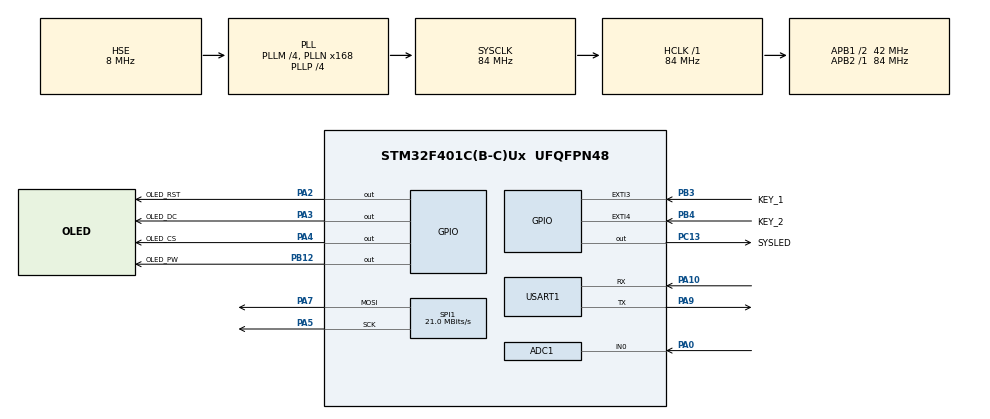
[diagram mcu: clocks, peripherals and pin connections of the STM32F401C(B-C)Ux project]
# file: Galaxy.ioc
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ADC1.Channel-0\#ChannelRegularConversion=ADC_CHANNEL_0
ADC1.ExternalTrigConv=ADC_EXTERNALTRIGCONV_T3_TRGO
ADC1.NbrOfConversionFlag=1
ADC1.Rank-0\#ChannelRegularConversion=1
ADC1.SamplingTime-0\#ChannelRegularConversion=ADC_SAMPLETIME_3CYCLES
ADC1.master=1
Dma.ADC1.1.Direction=DMA_PERIPH_TO_MEMORY
Dma.ADC1.1.FIFOMode=DMA_FIFOMODE_DISABLE
Dma.ADC1.1.Instance=DMA2_Stream0
Dma.ADC1.1.MemDataAlignment=DMA_MDATAALIGN_WORD
Dma.ADC1.1.MemInc=DMA_MINC_ENABLE
Dma.ADC1.1.Mode=DMA_CIRCULAR
Dma.ADC1.1.PeriphDataAlignment=DMA_PDATAALIGN_WORD
Dma.ADC1.1.PeriphInc=DMA_PINC_DISABLE
Dma.ADC1.1.Priority=DMA_PRIORITY_LOW
Dma.Request0=SPI1_TX
Dma.Request1=ADC1
Dma.SPI1_TX.0.Direction=DMA_MEMORY_TO_PERIPH
Dma.SPI1_TX.0.FIFOMode=DMA_FIFOMODE_DISABLE
Dma.SPI1_TX.0.Instance=DMA2_Stream3
Dma.SPI1_TX.0.MemDataAlignment=DMA_MDATAALIGN_BYTE
Dma.SPI1_TX.0.MemInc=DMA_MINC_ENABLE
Dma.SPI1_TX.0.Mode=DMA_NORMAL
Dma.SPI1_TX.0.PeriphDataAlignment=DMA_PDATAALIGN_BYTE
Dma.SPI1_TX.0.PeriphInc=DMA_PINC_DISABLE
Dma.SPI1_TX.0.Priority=DMA_PRIORITY_LOW
Mcu.Family=STM32F4
Mcu.Name=STM32F401C(B-C)Ux
Mcu.Package=UFQFPN48
NVIC.DMA2_Stream0_IRQn=true\:0\:0\:false\:false\:true\:false\:true
NVIC.DMA2_Stream3_IRQn=true\:0\:0\:false\:false\:true\:false\:true
NVIC.EXTI3_IRQn=true\:0\:0\:false\:false\:true\:true\:true
NVIC.EXTI4_IRQn=true\:0\:0\:false\:false\:true\:true\:true
NVIC.FPU_IRQn=true\:0\:0\:false\:false\:true\:true\:false
NVIC.PriorityGroup=NVIC_PRIORITYGROUP_4
NVIC.TIM1_BRK_TIM9_IRQn=true\:0\:0\:false\:false\:true\:true\:true
NVIC.TIM4_IRQn=true\:0\:0\:false\:false\:true\:true\:true
NVIC.TIM5_IRQn=true\:0\:0\:false\:false\:true\:true\:true
NVIC.USART1_IRQn=true\:0\:0\:false\:false\:true\:true\:true
PA0-WKUP.Signal=ADCx_IN0
PA10.Mode=Asynchronous
PA10.Signal=USART1_RX
PA13.Mode=Serial_Wire
PA13.Signal=SYS_JTMS-SWDIO
PA14.Mode=Serial_Wire
PA14.Signal=SYS_JTCK-SWCLK
PA2.GPIO_Label=OLED_RST
PA2.GPIO_ModeDefaultOutputPP=GPIO_MODE_OUTPUT_PP
PA2.GPIO_PuPd=GPIO_PULLUP
PA2.GPIO_Speed=GPIO_SPEED_FREQ_VERY_HIGH
PA2.PinState=GPIO_PIN_SET
PA2.Signal=GPIO_Output
PA3.GPIO_Label=OLED_DC
PA3.GPIO_ModeDefaultOutputPP=GPIO_MODE_OUTPUT_PP
PA3.GPIO_PuPd=GPIO_PULLUP
PA3.GPIO_Speed=GPIO_SPEED_FREQ_VERY_HIGH
PA3.PinState=GPIO_PIN_SET
PA3.Signal=GPIO_Output
PA4.GPIO_Label=OLED_CS
PA4.GPIO_ModeDefaultOutputPP=GPIO_MODE_OUTPUT_PP
PA4.GPIO_PuPd=GPIO_PULLUP
PA4.GPIO_Speed=GPIO_SPEED_FREQ_VERY_HIGH
PA4.PinState=GPIO_PIN_SET
PA4.Signal=GPIO_Output
PA5.Mode=TX_Only_Simplex_Unidirect_Master
PA5.Signal=SPI1_SCK
PA7.Mode=TX_Only_Simplex_Unidirect_Master
PA7.Signal=SPI1_MOSI
PA9.Mode=Asynchronous
PA9.Signal=USART1_TX
PB12.GPIO_Label=OLED_PW
PB12.GPIO_ModeDefaultOutputPP=GPIO_MODE_OUTPUT_PP
PB12.GPIO_PuPd=GPIO_PULLUP
PB12.GPIO_Speed=GPIO_SPEED_FREQ_LOW
PB12.PinState=GPIO_PIN_SET
PB12.Signal=GPIO_Output
PB3.GPIO_Label=KEY_1
PB3.GPIO_ModeDefaultEXTI=GPIO_MODE_IT_FALLING
PB3.GPIO_PuPd=GPIO_PULLUP
PB3.Signal=GPXTI3
PB4.GPIO_Label=KEY_2
PB4.GPIO_ModeDefaultEXTI=GPIO_MODE_IT_FALLING
PB4.GPIO_PuPd=GPIO_PULLUP
PB4.Signal=GPXTI4
PC13-ANTI_TAMP.GPIO_Label=SYSLED
PC13-ANTI_TAMP.GPIO_ModeDefaultOutputPP=GPIO_MODE_OUTPUT_PP
PC13-ANTI_TAMP.GPIO_PuPd=GPIO_PULLUP
PC13-ANTI_TAMP.GPIO_Speed=GPIO_SPEED_FREQ_LOW
PC13-ANTI_TAMP.PinState=GPIO_PIN_SET
PC13-ANTI_TAMP.Signal=GPIO_Output
PH0\ -\ OSC_IN.Mode=HSE-External-Oscillator
PH0\ -\ OSC_IN.Signal=RCC_OSC_IN
PH1\ -\ OSC_OUT.Mode=HSE-External-Oscillator
PH1\ -\ OSC_OUT.Signal=RCC_OSC_OUT
ProjectManager.HeapSize=0x200
ProjectManager.StackSize=0x400
ProjectManager.TargetToolchain=MDK-ARM V5.27
RCC.48MHZClocksFreq_Value=84000000
RCC.AHBFreq_Value=84000000
RCC.APB1CLKDivider=RCC_HCLK_DIV2
RCC.APB1Freq_Value=42000000
RCC.APB1TimFreq_Value=84000000
RCC.APB2Freq_Value=84000000
RCC.APB2TimFreq_Value=84000000
RCC.CortexFreq_Value=84000000
RCC.HCLKFreq_Value=84000000
RCC.HSE_VALUE=8000000
RCC.HSI_VALUE=16000000
RCC.LSE_VALUE=32768
RCC.PLLM=4
RCC.PLLN=168
RCC.PLLP=RCC_PLLP_DIV4
RCC.PLLSourceVirtual=RCC_PLLSOURCE_HSE
RCC.RCC_RTC_Clock_Source=RCC_RTCCLKSOURCE_LSE
RCC.RCC_RTC_Clock_SourceVirtual=RCC_RTCCLKSOURCE_LSE
RCC.SYSCLKFreq_VALUE=84000000
RCC.SYSCLKSource=RCC_SYSCLKSOURCE_PLLCLK
RCC.VCOOutputFreq_Value=336000000
SH.ADCx_IN0.0=ADC1_IN0,IN0
SPI1.BaudRatePrescaler=SPI_BAUDRATEPRESCALER_4
SPI1.CalculateBaudRate=21.0 MBits/s
SPI1.Direction=SPI_DIRECTION_2LINES
SPI1.Mode=SPI_MODE_MASTER
SPI1.VirtualType=VM_MASTER
TIM3.Period=99
TIM3.Prescaler=83
TIM3.TIM_MasterOutputTrigger=TIM_TRGO_UPDATE
TIM4.AutoReloadPreload=TIM_AUTORELOAD_PRELOAD_ENABLE
TIM4.Period=99
TIM4.Prescaler=8399
TIM5.Period=199
TIM5.Prescaler=8399
TIM9.AutoReloadPreload=TIM_AUTORELOAD_PRELOAD_ENABLE
TIM9.Period=9999
TIM9.Prescaler=8399
USART1.VirtualMode=VM_ASYNC
VP_TIM3_VS_ClockSourceINT.Mode=Internal
VP_TIM4_VS_ClockSourceINT.Mode=Internal
VP_TIM5_VS_ClockSourceINT.Mode=Internal
VP_TIM9_VS_ClockSourceINT.Mode=Internal
board=custom

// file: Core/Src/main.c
/* USER CODE BEGIN Header */
/**
  ******************************************************************************
  * @file           : main.c
  * @brief          : Main program body
  ******************************************************************************
  * @attention
  *
  * <h2><center>&copy; Copyright (c) 2020 STMicroelectronics.
  * All rights reserved.</center></h2>
  *
  * This software component is licensed by ST under BSD 3-Clause license,
  * the "License"; You may not use this file except in compliance with the
  * License. You may obtain a copy of the License at:
  *                        opensource.org/licenses/BSD-3-Clause
  *
  ******************************************************************************
  */
/* USER CODE END Header */
#include "main.h"
#include "adc.h"
#include "dma.h"
#include "spi.h"
#include "tim.h"
#include "usart.h"
#include "gpio.h"

/* USER CODE BEGIN Includes */
#include "OLED_Animation.h"
#include "OLED_Driver.h"
#include "OLED_GFX.h"
#include "OLED_FFT.h"
#include "string.h"
#include "math.h"
#include "stdio.h"
#include "stm32_dsp.h"
#include "stmflash.h"
#include "table_fft.h"
/* USER CODE END Includes */

/* USER CODE BEGIN PTD */

#define FLASH_SAVE_ADDR  0x0803D000 	//设置FLASH 保存地址(必须为4的倍数，且所在扇区,要大于本代码所占用到的扇区.

/* USER CODE END PTD */

/* USER CODE BEGIN PM */
uint8_t Flag_Refrash = False;
uint8_t Flag_Blink = False;
uint8_t Flag_Sleep = False;
uint8_t Flag_Continue = False;
uint8_t Flag_Reception = True;
uint8_t OfflineCount = 6;
uint8_t SystemActive = False;
u8 datatemp[256] = {};
u16 RandomX=30,RandomY=30;

#define Radius 60
#define RadiusC 56
#define RadiusB 53
#define HourRadius 30
#define MinRadius 40
#define SecRadius 50
u16 ColorPointer[3];

uint8_t adc_dma_ok = 0;					//adc的DMA传输完成标志
uint32_t adc_buf[NPT]={0};			//用于存储ADC转换结果的数组

static long lBufInArray[NPT];					//传入给FFT的数组
//long lBufOutArray[NPT/2];				//FFT输出 因为输出结果是对称的 所以我们只取了前面的一半
//long lBufMagArray[NPT/2];				//每个频率对用的幅值
static long lBufOutArray[NPT];				//FFT输出
long lBufMagArray[NPT];				//每个频率对用的幅值

void FFT_Start(void)
{
	/*启动ADC的DMA传输，配合定时器触发ADC转换*/
	HAL_ADC_Start_DMA(&hadc1, adc_buf, NPT);
	/*开启定时器，用溢出时间来触发ADC*/
	HAL_TIM_Base_Start(&htim3);
}

void FFT_Stop(void)
{
	/*停止ADC的DMA传输*/
	HAL_ADC_Stop_DMA(&hadc1);
	/*停止定时器*/
	HAL_TIM_Base_Stop(&htim3);
}

void GetPowerMag(void)
{
    signed short lX,lY;
    float X,Y,Mag;
    unsigned short i;

    for(i=0; i<NPT; i++)
    {
        lX  = (lBufOutArray[i] << 16) >> 16;
        lY  = (lBufOutArray[i] >> 16);

				//除以32768再乘65536是为了符合浮点数计算规律
        X = NPT * ((float)lX) / 32768;
        Y = NPT * ((float)lY) / 32768;
        Mag = sqrt(X * X + Y * Y)*1.0f/ NPT;
        if(i == 0)
            lBufMagArray[i] = (unsigned long)(Mag * 32768);
        else
            lBufMagArray[i] = (unsigned long)(Mag * 65536);
    }
}

/* 函数名称：void FFT_Pro(void)
 * 功能描述：FFT处理函数
 * 参数：无
 * 返回值：无
 */
void FFT_Pro(void)
{
	uint16_t i = 0;
	//填充数组
	for(i=0;i<NPT;i++)
	{
		//这里因为单片机的ADC只能测正的电压 所以需要前级加直流偏执
		//加入直流偏执后 1.25V 对应AD值为3103
		lBufInArray[i] = ((signed short)(adc_buf[i])-1551) << 18;
	}
	//256点FFT变换
	cr4_fft_256_stm32(lBufOutArray, lBufInArray, NPT);
	//计算出对应频率的模 即每个频率对应的幅值
	GetPowerMag();
}

/* USER CODE END PM */

/* USER CODE BEGIN PV */
int Count=0;

u8 Dataleng;
char DataDis[20];
char DataDisf[3];

u8 showfpsflag = 0;
//void CopyString(char *ch1,char *ch2)
//{
//	int i;
//	for(i=0;i<cont_str(ch2);i++)
//		ch1[i]=ch2[i];
//}
/* USER CODE END PV */

void SystemClock_Config(void);

/* USER CODE BEGIN 0 */

OLED_GFX oled = OLED_GFX();
OLED_FFT fft = OLED_FFT();
OLED_Animation motion = OLED_Animation();

typedef struct
{
	uint8_t theme;
	uint8_t animotion;
} SAVE;

SAVE save={1,1};

void savedata(void)
{
	u32 msg[2];
	msg[0] = save.theme;
	msg[1] = save.animotion;

	STMFLASH_Write(FLASH_SAVE_ADDR,(u32*)msg,2);
}
void getdata(void)
{
	u32 msg[2];
	STMFLASH_Read(FLASH_SAVE_ADDR,(u32*)msg,2);
	save.theme = msg[0];
	save.animotion = msg[1];
}

u8 key1UpFlag = False;
u8 key1_fall_flag = False;
u8 short_key1_flag = False;
u8 key1_long_down = False;
u8 long_key1_flag = False;
int key1_holdon_ms = 0;
int key1upCnt = 0;

u8 key2UpFlag = False;
u8 key2_fall_flag = False;
u8 short_key2_flag = False;
u8 key2_long_down = False;
u8 long_key2_flag = False;
int key2_holdon_ms = 0;
int key2upCnt = 0;

void KeyProcess(void)
{
	if(short_key1_flag)
	{
		short_key1_flag=0;
		save.theme++;
		if(save.theme>6)
			save.theme=1;

		oled.Display_hbmp(64-81/2,48-26/2,81,26,themetop[save.theme-1],0xFFFF);
		oled.Refrash_Screen();
		savedata();
		oled.Clear_Screen();
	}
	else if(key1_long_down)
	{
		showfpsflag = 1-showfpsflag;
		key1_long_down=0;
	}
	if(short_key2_flag)
	{
		short_key2_flag=0;
		save.animotion++;
		if(save.animotion>6)
			save.animotion=0;

		oled.Display_hbmp(64-81/2,48-26/2,81,26,animationtop[save.animotion],0xFFFF);
		oled.Refrash_Screen();
		savedata();
		oled.Clear_Screen();
	}
	else if(key2_long_down)
	{
		key2_long_down=0;
	}
}
u16 fps = 0;
char fpschar[20];
/* USER CODE END 0 */

int main(void)
{

  /* MCU Configuration--------------------------------------------------------*/

  /* Reset of all peripherals, Initializes the Flash interface and the Systick. */
  HAL_Init();

  /* Configure the system clock */
  SystemClock_Config();

  /* Initialize all configured peripherals */
  MX_GPIO_Init();
  MX_DMA_Init();
  MX_SPI1_Init();
  MX_USART1_UART_Init();
  MX_ADC1_Init();
  MX_TIM3_Init();
  MX_TIM4_Init();
  MX_TIM5_Init();
  MX_TIM9_Init();
  /* USER CODE BEGIN 2 */
	getdata();
	HAL_TIM_Base_Start_IT(&htim4);
	HAL_TIM_Base_Start_IT(&htim5);
	HAL_TIM_Base_Start_IT(&htim9);
	printf("Sys OK!\r\n");
  oled.Device_Init();
	motion.OLED_AllMotion_Init();
	FFT_Start();
//	HAL_RTC_MspInit(&hrtc);
//  RTC_Set_WakeUp(RTC_WAKEUPCLOCK_CK_SPRE_16BITS,0); //配置WAKE UP中断,1秒钟中断一次

  /* USER CODE END 2 */

  /* Infinite loop */
  while (1)
  {

    /* USER CODE BEGIN 3 */
		MUSIC_Mode();

//		HAL_ADC_Start(&hadc1);
//		HAL_ADC_PollForConversion(&hadc1, 50);
//		printf("ADC:%X\r\n",HAL_ADC_GetValue(&hadc1));
  }
  /* USER CODE END 3 */
}

void SystemClock_Config(void)
{
  RCC_OscInitTypeDef RCC_OscInitStruct = {0};
  RCC_ClkInitTypeDef RCC_ClkInitStruct = {0};

  /** Configure the main internal regulator output voltage
  */
  __HAL_RCC_PWR_CLK_ENABLE();
  __HAL_PWR_VOLTAGESCALING_CONFIG(PWR_REGULATOR_VOLTAGE_SCALE2);
  /** Initializes the RCC Oscillators according to the specified parameters
  * in the RCC_OscInitTypeDef structure.
  */
  RCC_OscInitStruct.OscillatorType = RCC_OSCILLATORTYPE_HSE;
  RCC_OscInitStruct.HSEState = RCC_HSE_ON;
  RCC_OscInitStruct.PLL.PLLState = RCC_PLL_ON;
  RCC_OscInitStruct.PLL.PLLSource = RCC_PLLSOURCE_HSE;
  RCC_OscInitStruct.PLL.PLLM = 4;
  RCC_OscInitStruct.PLL.PLLN = 168;
  RCC_OscInitStruct.PLL.PLLP = RCC_PLLP_DIV4;
  RCC_OscInitStruct.PLL.PLLQ = 4;
  if (HAL_RCC_OscConfig(&RCC_OscInitStruct) != HAL_OK)
  {
    Error_Handler();
  }
  /** Initializes the CPU, AHB and APB buses clocks
  */
  RCC_ClkInitStruct.ClockType = RCC_CLOCKTYPE_HCLK|RCC_CLOCKTYPE_SYSCLK
                              |RCC_CLOCKTYPE_PCLK1|RCC_CLOCKTYPE_PCLK2;
  RCC_ClkInitStruct.SYSCLKSource = RCC_SYSCLKSOURCE_PLLCLK;
  RCC_ClkInitStruct.AHBCLKDivider = RCC_SYSCLK_DIV1;
  RCC_ClkInitStruct.APB1CLKDivider = RCC_HCLK_DIV2;
  RCC_ClkInitStruct.APB2CLKDivider = RCC_HCLK_DIV1;

  if (HAL_RCC_ClockConfig(&RCC_ClkInitStruct, FLASH_LATENCY_2) != HAL_OK)
  {
    Error_Handler();
  }
}

/* USER CODE BEGIN 4 */

//RTC_TimeTypeDef timenow = {0};
//RTC_DateTypeDef datenow = {0};
uint8_t prt = 1;
void MUSIC_Mode(void)
{
	int i;
  static uint8_t OTheme = 0;
	if(Flag_Refrash)
	{
		Flag_Refrash = False;
		oled.Clear_Screen();
		motion.OLED_CustormMotion(save.animotion);
		if(adc_dma_ok)
		{
			adc_dma_ok = 0;
			FFT_Pro();
			for(i=0;i<200;i++)
			{
				if(lBufMagArray[i]/prt>20)
					Device_Msg.fft[i] = lBufMagArray[i]/prt;
				else
					Device_Msg.fft[i] = lBufMagArray[i]/prt/4;
			}
			Device_Msg.leftvol=Device_Msg.fft[1];
			FFT_Start();
		}
		KeyProcess();
		if(OTheme!=save.theme)
		{
			OTheme=save.theme;

			for(i=0;i<sizeof(fall_pot);i++)
			{
				fall_pot[i] = 128;
				flow_pot[i] = 128;
			}
		}

		switch(save.theme)
		{
			case 1:fft.Display_Style1();break;
			case 2:fft.Display_Style2();break;
			case 3:fft.Display_Style3();break;
			case 4:fft.Display_Style4();break;
			case 5:fft.Display_Style5();break;
			case 6:fft.Display_Style6();break;
			default:fft.Display_Style1();break;
		}

		fps++;
		if(showfpsflag)
			oled.OLED_SHFAny(0,0,fpschar,19,0xffff);
		oled.Refrash_Screen();
	}
	HAL_Delay(2);
}

void HAL_TIM_PeriodElapsedCallback(TIM_HandleTypeDef *htim)
{
	static u16 TimeRun = 0;
	if (htim->Instance == htim4.Instance)
	{
		if(key1_fall_flag==1)//发生按键按下事件
		{
			if(!HAL_GPIO_ReadPin(KEY_1_GPIO_Port,KEY_1_Pin))//按键持续按下
			{
				if(key1_holdon_ms <= 200)
				{
					key1_holdon_ms++;
				}
				else //按键按下到2000ms就判断长按时间成立，生成长按标志
				{
					key1_holdon_ms = 0;
					short_key1_flag = 0;//清短按键标志
					key1_long_down = 1;//长按键标志置位
					key1_fall_flag = 0;//清按键按下标志
				}
			}
			else //按键抬起
			{
				if(key1_holdon_ms>5)//按下时间大于50ms，生成单击标志
				{
					key1_holdon_ms=0;
					short_key1_flag=1;
					key1_long_down =0;
					key1_fall_flag=0;

					//距离上次单击时间在100~500ms之间，则认为发生连击事件
//					if(key1upCnt>100 && key1upCnt<500)
//					{
//						doubleClick = True;
//						short_key1_flag=0;
//					}
					key1UpFlag = True;//单击抬起按键后，生成按键抬起标志
				}
				else  //按键持续时间小于50ms，忽略
				{
					key1_holdon_ms=0;
					short_key1_flag=0;
					long_key1_flag=0;
					key1_fall_flag=0;
				}
			}
		}

		if(key1UpFlag)//单击抬起后，启动计数，计数到500ms
			key1upCnt++;
		if(key1upCnt>50)
		{
			key1upCnt = 0;
			key1UpFlag = False;
		}

		if(key2_fall_flag==1)//发生按键按下事件
		{
			if(!HAL_GPIO_ReadPin(KEY_2_GPIO_Port,KEY_2_Pin))//按键持续按下
			{
				if(key2_holdon_ms <= 200)
				{
					key2_holdon_ms++;
				}
				else //按键按下到2000ms就判断长按时间成立，生成长按标志
				{
					key2_holdon_ms = 0;
					short_key2_flag=0;//清短按键标志
					key2_long_down = 1;//长按键标志置位
					key2_fall_flag = 0;//清按键按下标志
				}
			}
			else //按键抬起
			{
				if(key2_holdon_ms>5)//按下时间大于50ms，生成单击标志
				{
					key2_holdon_ms=0;
					short_key2_flag=1;
					key2_long_down =0;
					key2_fall_flag=0;

					//距离上次单击时间在100~500ms之间，则认为发生连击事件
//					if(key2upCnt>100 && key2upCnt<500)
//					{
//						doubleClick = True;
//						short_key2_flag=0;
//					}
					key2UpFlag = True;//单击抬起按键后，生成按键抬起标志
				}
				else  //按键持续时间小于50ms，忽略
				{
					key2_holdon_ms=0;
					short_key2_flag=0;
					long_key2_flag=0;
					key2_fall_flag=0;
				}
			}
		}

		if(key2UpFlag)//单击抬起后，启动计数，计数到500ms
			key2upCnt++;
		if(key2upCnt>50)
		{
			key2upCnt = 0;
			key2UpFlag = False;
		}

	}
	if (htim->Instance == htim5.Instance)
	{
		oled.Set_Wheel(TimeRun++%96);
		oled.Calc_Color();
//		HAL_GPIO_TogglePin(SYSLED_GPIO_Port, SYSLED_Pin);
		Flag_Refrash = True;
	}
	if (htim->Instance == htim9.Instance)
	{
		sprintf(fpschar,"%d",fps);
		fps = 0;
//		HAL_RTC_GetTime(&hrtc,&timenow,RTC_FORMAT_BIN);
//		printf("Time:%02d:%02d:%02d\r\n",timenow.Hours,timenow.Minutes,timenow.Seconds);
//		HAL_RTC_GetDate(&hrtc,&datenow,RTC_FORMAT_BIN);
//		printf("Date:20%02d-%02d-%02d\r\n",datenow.Year,datenow.Month,datenow.Date);
//		printf("Week:%d\r\n",datenow.WeekDay);
	}
//	if (htim->Instance == htim6.Instance)
//	{
//		if(ContinueCount++>20)
//		{
//			ContinueCount = 0;
//			HAL_TIM_Base_Stop_IT(&htim6);
//		}
//	}
//	if (htim->Instance == htim7.Instance)
//	{
//		oled.Set_Wheel(TimeRun%96);
////		if(TimeRun++>20)
////		{
////			TimeRun = 0;
////		}
//
//		if(SleepCount++>SLEEPTIME*2)
//		{
//				Flag_Sleep = True;
//				SleepCount = 0;
//		}
//	}
}
void HAL_GPIO_EXTI_Callback(uint16_t GPIO_Pin)
{
	switch(GPIO_Pin)
	{
		case KEY_1_Pin:
		if(HAL_GPIO_ReadPin(KEY_1_GPIO_Port,KEY_1_Pin)==GPIO_PIN_RESET)  //LED1翻转
		{
				printf("Key1 Pressed!\r\n");
				key1_fall_flag = 1;//开启按键标志
		}
		break;
		case KEY_2_Pin:
		if(HAL_GPIO_ReadPin(KEY_2_GPIO_Port,KEY_2_Pin)==GPIO_PIN_RESET)  //LED1翻转
		{
				printf("Key2 Pressed!\r\n");
				key2_fall_flag = 1;//开启按键标志
		}
		break;
	}
}
void HAL_ADC_ConvCpltCallback(ADC_HandleTypeDef* hadc)
{
//	HAL_ADC_Stop_DMA(&hadc1);	//停止ADC的DMA传输
	FFT_Stop();
	adc_dma_ok = 1;						//标记ADC_DMA传输完成
}

/* USER CODE END 4 */

void Error_Handler(void)
{
}

/************************ (C) COPYRIGHT STMicroelectronics *****END OF FILE****/
